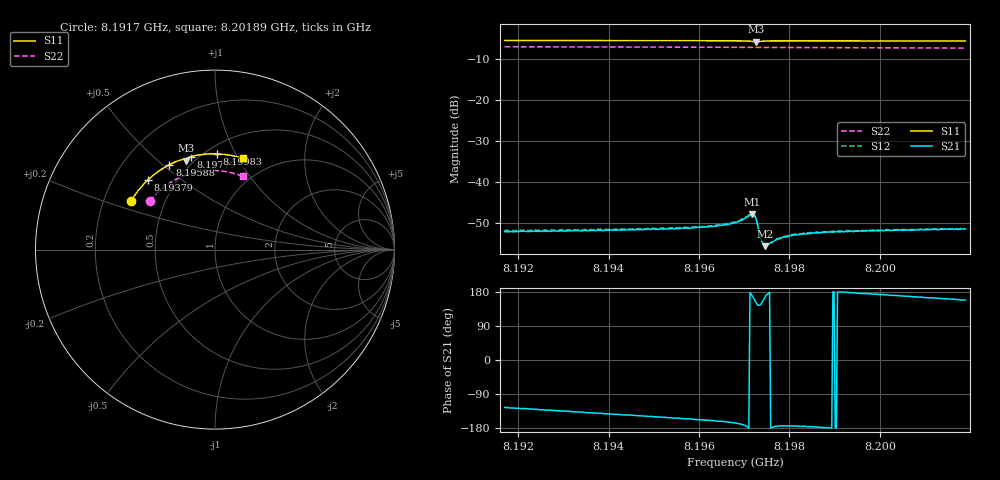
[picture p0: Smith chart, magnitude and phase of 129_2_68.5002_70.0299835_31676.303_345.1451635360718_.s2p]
#  HZ  S  RI  R  50.00
! Rohde & Schwarz Vector Network Analyzer
! Rohde-Schwarz,ZNB20-2Port,1311601062101988,3.16
! Created: UTC 3/20/2024, 4:54:18 PM
! freq[Hz]  re:S11  im:S11  re:S21  im:S21  re:S12  im:S12  re:S22  im:S22
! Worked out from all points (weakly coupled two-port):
!   401 points, 8.1917 GHz to 8.20189 GHz, reference 50 ohm
!   highest |S21| = -47.95 dB at 8.19718 GHz (marker M1); lowest = -55.7 dB at 8.19746 GHz (marker M2)
!   lowest |S11| = -5.7 dB at 8.19725 GHz (marker M3), VSWR 3.18, Z = 22.8 + j31.1 ohm
!   |S11| at or under -10 dB: nowhere
!   |S22| runs from -7.2 to -6.9 dB; largest |S21 - S12| = 0.00022
!   S11 on the Smith chart (normalised r, x): 8.1917 GHz: 0.32, +0.25; 8.19379 GHz: 0.35, +0.38; 8.19588 GHz: 0.40, +0.53; 8.19779 GHz: 0.46, +0.67; 8.19983 GHz: 0.57, +0.85; 8.20189 GHz: 0.74, +1.05
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8.191699e9  -0.4661 0.2731  -0.00141 -0.00203  -0.00151 -0.00201  -0.3621 0.2712
8.193407e9  -0.3935 0.3687  -0.00186 -0.00169  -0.00197 -0.00167  -0.2961 0.3392
8.193789e9  -0.3743 0.3876  -0.00199 -0.00162  -0.00205 -0.00158  -0.2794 0.3524
8.195114e9  -0.3012 0.4457  -0.00231 -0.00128  -0.00241 -0.00123  -0.2169 0.3917
8.195878e9  -0.2544 0.4731  -0.00252 -0.00109  -0.00261 -0.00102  -0.178 0.4096
8.196337e9  -0.2248 0.4873  -0.00271 -0.000977  -0.00278 -0.00088  -0.1539 0.4184
8.196796e9  -0.1929 0.4994  -0.00307 -0.000766  -0.00318 -0.000676  -0.1293 0.4259
8.196923e9  -0.1832 0.502  -0.00334 -0.000616  -0.00339 -0.000516  -0.1222 0.4277
8.197127e9  -0.1659 0.5025  -0.00391 0.000176  -0.00395 0.000363  -0.1111 0.4303
8.197178e9  -0.1622 0.5002  -0.00393 0.000746  -0.00394 0.000894  -0.1083 0.4308
8.197229e9  -0.161 0.497  -0.00355 0.00142  -0.00356 0.00157  -0.1055 0.4314
8.197255e9  -0.1617 0.4961  -0.00318 0.00164  -0.00315 0.00183  -0.1044 0.4315
8.197382e9  -0.1626 0.5029  -0.00164 0.000974  -0.00162 0.00105  -0.0975 0.4332
8.197407e9  -0.1612 0.5047  -0.0016 0.000742  -0.00161 0.000836  -0.096 0.4334
8.197458e9  -0.1579 0.5079  -0.00158 0.000414  -0.00161 0.00047  -0.0932 0.4341
8.197509e9  -0.1541 0.5104  -0.00167 0.000214  -0.00167 0.000262  -0.0904 0.4346
8.19779e9  -0.1331 0.5182  -0.00201 -0.000198  -0.00207 -0.000127  -0.0746 0.4371
8.19807e9  -0.1128 0.5231  -0.00222 -0.000229  -0.00227 -0.000134  -0.059 0.4389
8.198503e9  -0.0819 0.5285  -0.00238 -0.000147  -0.0024 -5.97e-05  -0.0346 0.4408
8.199828e9  0.0121 0.5333  -0.0025 0.000271  -0.00254 0.000396  0.0405 0.4379
8.200211e9  0.0391 0.5316  -0.00252 0.000408  -0.00253 0.000486  0.0618 0.4344
8.201893e9  0.1554 0.5078  -0.00246 0.000998  -0.00242 0.00112  0.1538 0.4077
